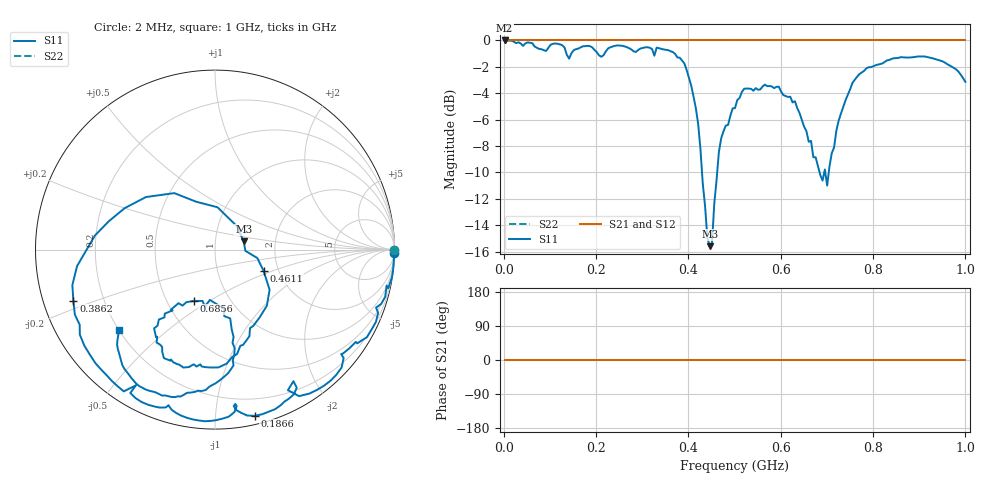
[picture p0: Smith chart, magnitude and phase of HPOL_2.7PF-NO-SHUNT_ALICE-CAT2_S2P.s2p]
!Agilent N9923A: A.07.32
!Date: Saturday, 22 February 2020 04:50:17
!Model: N9923A
!Serial: MY52412229
!GPS Latitude:
!GPS Longitude:
!GPS TimeStamp: 0001-01-01 00:00:00Z
!GPS Seconds Since Last Read: 0
!CHECKSUM:1975952819
!Correction: S11(ON U)S21()S12()S22()
!S2P File: Measurements:S11,S21,S12,S22:
# Hz S DB R 50
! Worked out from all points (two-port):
!   201 points, 2 MHz to 1 GHz, reference 50 ohm
!   highest |S21| = 0.00 dB at 2 MHz (marker M1); lowest = 0.0 dB at 2 MHz (marker M2)
!   |S21| within 3 dB of the highest: start of sweep to end of sweep
!   lowest |S11| = -15.6 dB at 446.1 MHz (marker M3), VSWR 1.40, Z = 68.7 + j6.39 ohm
!   |S11| at or under -10 dB: 429.5 MHz to 462.4 MHz (32.89 MHz wide, 7.37 % of centre); 684.2 MHz to 694.3 MHz (10.05 MHz wide, 1.46 % of centre); 696.5 MHz to 704.1 MHz (7.536 MHz wide, 1.08 % of centre)
!   |S22| runs from 0.0 to 0.0 dB; largest |S21 - S12| = 0
!   S11 on the Smith chart (normalised r, x): 2 MHz: open; 186.6 MHz: 0.06, -1.26; 386.2 MHz: 0.09, -0.17; 461.1 MHz: 1.67, -0.44; 685.6 MHz: 0.68, -0.43; 1 GHz: 0.20, -0.35
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2000000  -0.00 -1.0  0.00 0.0  0.00 0.0  0.00 0.0
6.687e7  -0.45 -33.4  0.00 0.0  0.00 0.0  0.00 0.0
1.7166e8  -0.44 -69.4  0.00 0.0  0.00 0.0  0.00 0.0
1.8663e8  -0.43 -76.6  0.00 0.0  0.00 0.0  0.00 0.0
3.3633e8  -0.59 -125.5  0.00 0.0  0.00 0.0  0.00 0.0
3.8623e8  -1.52 -160.1  0.00 0.0  0.00 0.0  0.00 0.0
4.0619e8  -3.43 173.4  0.00 0.0  0.00 0.0  0.00 0.0
4.2116e8  -6.31 142.7  0.00 0.0  0.00 0.0  0.00 0.0
4.4611e8  -15.59 15.8  0.00 0.0  0.00 0.0  0.00 0.0
4.6108e8  -10.57 -23.7  0.00 0.0  0.00 0.0  0.00 0.0
4.7605e8  -6.88 -56.7  0.00 0.0  0.00 0.0  0.00 0.0
5.01e8  -5.13 -75.2  0.00 0.0  0.00 0.0  0.00 0.0
5.2096e8  -3.66 -88.2  0.00 0.0  0.00 0.0  0.00 0.0
5.9581e8  -3.50 -115.2  0.00 0.0  0.00 0.0  0.00 0.0
6.3573e8  -5.12 -127.7  0.00 0.0  0.00 0.0  0.00 0.0
6.7066e8  -8.85 -124.2  0.00 0.0  0.00 0.0  0.00 0.0
6.8563e8  -10.18 -112.7  0.00 0.0  0.00 0.0  0.00 0.0
7.006e8  -11.00 -95.8  0.00 0.0  0.00 0.0  0.00 0.0
7.505e8  -3.69 -81.0  0.00 0.0  0.00 0.0  0.00 0.0
8.3533e8  -1.48 -104.2  0.00 0.0  0.00 0.0  0.00 0.0
9.3014e8  -1.36 -122.9  0.00 0.0  0.00 0.0  0.00 0.0
1e9  -3.14 -140.1  0.00 0.0  0.00 0.0  0.00 0.0
